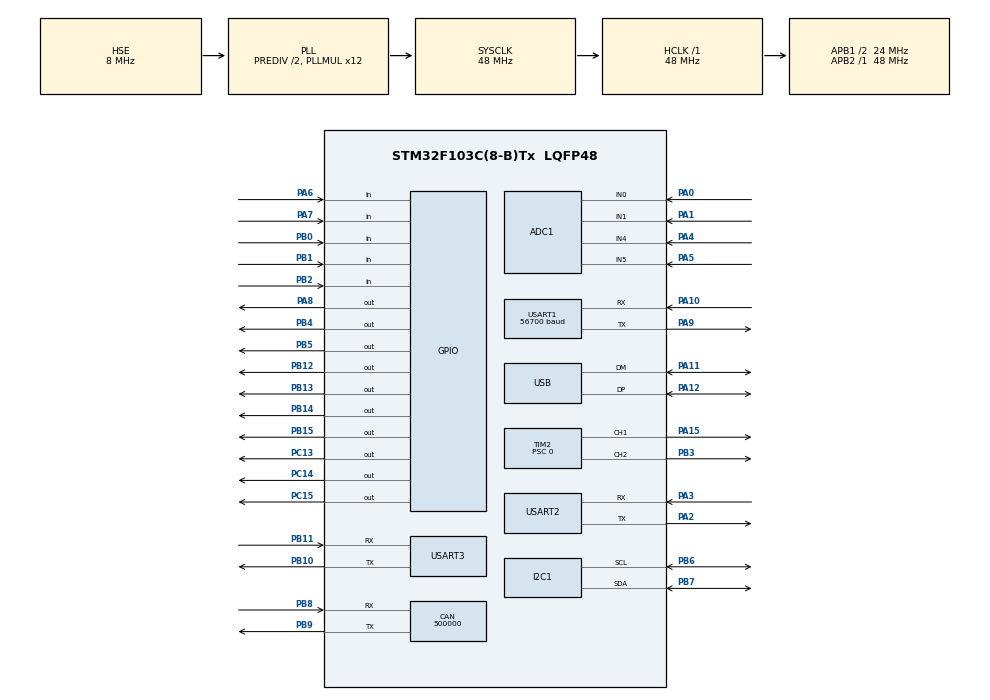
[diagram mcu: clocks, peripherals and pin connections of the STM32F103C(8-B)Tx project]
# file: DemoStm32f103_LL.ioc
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ADC1.Channel-0\#ChannelRegularConversion=ADC_CHANNEL_0
ADC1.NbrOfConversionFlag=1
ADC1.Rank-0\#ChannelRegularConversion=1
ADC1.SamplingTime-0\#ChannelRegularConversion=ADC_SAMPLETIME_1CYCLE_5
ADC1.master=1
CAN.CalculateBaudRate=500000
CAN.CalculateTimeBit=2000
CAN.CalculateTimeQuantum=666.6666666666666
Mcu.Family=STM32F1
Mcu.Name=STM32F103C(8-B)Tx
Mcu.Package=LQFP48
NVIC.I2C1_ER_IRQn=true\:0\:0\:false\:false\:true\:true\:true
NVIC.I2C1_EV_IRQn=true\:0\:0\:false\:false\:true\:true\:true
NVIC.PriorityGroup=NVIC_PRIORITYGROUP_4
NVIC.TIM3_IRQn=true\:0\:0\:false\:false\:true\:true\:true
NVIC.USART1_IRQn=true\:0\:0\:false\:false\:true\:true\:true
NVIC.USART2_IRQn=true\:0\:0\:false\:false\:true\:true\:true
NVIC.USART3_IRQn=true\:0\:0\:false\:false\:true\:true\:true
NVIC.USB_LP_CAN1_RX0_IRQn=true\:0\:0\:false\:false\:true\:true\:true
PA0-WKUP.Signal=ADCx_IN0
PA1.Signal=ADCx_IN1
PA10.Mode=Asynchronous
PA10.Signal=USART1_RX
PA11.Mode=Device
PA11.Signal=USB_DM
PA12.Mode=Device
PA12.Signal=USB_DP
PA13.Mode=Serial_Wire
PA13.Signal=SYS_JTMS-SWDIO
PA14.Mode=Serial_Wire
PA14.Signal=SYS_JTCK-SWCLK
PA15.Signal=S_TIM2_CH1_ETR
PA2.Mode=Asynchronous
PA2.Signal=USART2_TX
PA3.Mode=Asynchronous
PA3.Signal=USART2_RX
PA4.Signal=ADCx_IN4
PA5.Signal=ADCx_IN5
PA6.Signal=GPIO_Input
PA7.Signal=GPIO_Input
PA8.Signal=GPIO_Output
PA9.Mode=Asynchronous
PA9.Signal=USART1_TX
PB0.Signal=GPIO_Input
PB1.Signal=GPIO_Input
PB10.Mode=Asynchronous
PB10.Signal=USART3_TX
PB11.Mode=Asynchronous
PB11.Signal=USART3_RX
PB12.Signal=GPIO_Output
PB13.Signal=GPIO_Output
PB14.Signal=GPIO_Output
PB15.Signal=GPIO_Output
PB2.Signal=GPIO_Input
PB3.Signal=S_TIM2_CH2
PB4.Signal=GPIO_Output
PB5.Signal=GPIO_Output
PB6.GPIO_Pu=GPIO_PULLUP
PB6.Mode=I2C
PB6.Signal=I2C1_SCL
PB7.GPIO_Pu=GPIO_PULLUP
PB7.Mode=I2C
PB7.Signal=I2C1_SDA
PB8.Mode=CAN_Activate
PB8.Signal=CAN_RX
PB9.Mode=CAN_Activate
PB9.Signal=CAN_TX
PC13-TAMPER-RTC.Signal=GPIO_Output
PC14-OSC32_IN.Signal=GPIO_Output
PC15-OSC32_OUT.Signal=GPIO_Output
PD0-OSC_IN.Mode=HSE-External-Oscillator
PD0-OSC_IN.Signal=RCC_OSC_IN
PD1-OSC_OUT.Mode=HSE-External-Oscillator
PD1-OSC_OUT.Signal=RCC_OSC_OUT
ProjectManager.HeapSize=0x200
ProjectManager.StackSize=0x400
ProjectManager.TargetToolchain=STM32CubeIDE
RCC.ADCPresc=RCC_ADCPCLK2_DIV6
RCC.AHBFreq_Value=48000000
RCC.APB1CLKDivider=RCC_HCLK_DIV2
RCC.APB1Freq_Value=24000000
RCC.APB1TimFreq_Value=48000000
RCC.APB2Freq_Value=48000000
RCC.APB2TimFreq_Value=48000000
RCC.HCLKFreq_Value=48000000
RCC.HSEDivPLL=RCC_HSE_PREDIV_DIV2
RCC.PLLMUL=RCC_PLL_MUL12
RCC.PLLSourceVirtual=RCC_PLLSOURCE_HSE
RCC.SYSCLKFreq_VALUE=48000000
RCC.SYSCLKSource=RCC_SYSCLKSOURCE_PLLCLK
RCC.USBFreq_Value=48000000
SH.ADCx_IN0.0=ADC1_IN0,IN0
SH.ADCx_IN1.0=ADC1_IN1,IN1
SH.ADCx_IN4.0=ADC1_IN4,IN4
SH.ADCx_IN5.0=ADC1_IN5,IN5
SH.S_TIM2_CH1_ETR.0=TIM2_CH1,PWM Generation1 CH1
SH.S_TIM2_CH2.0=TIM2_CH2,PWM Generation2 CH2
TIM2.AutoReloadPreload=TIM_AUTORELOAD_PRELOAD_ENABLE
TIM2.Channel-PWM\ Generation1\ CH1=TIM_CHANNEL_1
TIM2.Channel-PWM\ Generation2\ CH2=TIM_CHANNEL_2
TIM2.OCFastMode_PWM-PWM\ Generation1\ CH1=TIM_OCFAST_DISABLE
TIM2.OCFastMode_PWM-PWM\ Generation2\ CH2=TIM_OCFAST_DISABLE
TIM2.Period=287
TIM2.Prescaler=0
TIM2.Pulse-PWM\ Generation1\ CH1=144
TIM2.Pulse-PWM\ Generation2\ CH2=144
TIM3.ClockDivision=TIM_CLOCKDIVISION_DIV4
TIM3.Period=3999
TIM3.Prescaler=47
USART1.BaudRate=56700
USART1.VirtualMode=VM_ASYNC
USART2.VirtualMode=VM_ASYNC
USART3.VirtualMode=VM_ASYNC
VP_TIM2_VS_ClockSourceINT.Mode=Internal
VP_TIM3_VS_ClockSourceINT.Mode=Internal
board=custom

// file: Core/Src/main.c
/* USER CODE BEGIN Header */
/**
  ******************************************************************************
  * @file           : main.c
  * @brief          : Main program body
  ******************************************************************************
  * @attention
  *
  * <h2><center>&copy; Copyright (c) 2019 STMicroelectronics.
  * All rights reserved.</center></h2>
  *
  * This software component is licensed by ST under BSD 3-Clause license,
  * the "License"; You may not use this file except in compliance with the
  * License. You may obtain a copy of the License at:
  *                        opensource.org/licenses/BSD-3-Clause
  *
  ******************************************************************************
  */
/* Version Management */
/**
 //Ver0.1  2022.03.11 Usart2로 전송한 Data를 Usart3으로 수신 완료
 //Ver0.1  2022.03.11 TX & RX모두 인터럽트 처리
*/
/* USER CODE END Header */
#include "main.h"

ADC_HandleTypeDef hadc1;

CAN_HandleTypeDef hcan;

PCD_HandleTypeDef hpcd_USB_FS;

void SystemClock_Config(void);
static void MX_GPIO_Init(void);
static void MX_CAN_Init(void);
static void MX_I2C1_Init(void);
static void MX_TIM3_Init(void);
static void MX_USART1_UART_Init(void);
static void MX_USART2_UART_Init(void);
static void MX_USART3_UART_Init(void);
static void MX_ADC1_Init(void);
static void MX_USB_PCD_Init(void);
static void MX_TIM2_Init(void);
/* USER CODE BEGIN PFP */
//void HAL_TIM_PeriodElapsedCallback(TIM_HandleTypeDef *htim);
//void USART3_RxRcvd_Callback(void);
void USART3_RxRcvd_MoveToBuf(void);

/* USER CODE END PFP */

/* USER CODE BEGIN 0 */
//-----------------------------------------------------------------------------
void TIM3_ISR()
{
  /* Prevent unused argument(s) compilation warning */
  //   LL_GPIO_TogglePin(GPIOC, LL_GPIO_PIN_13);
	  LL_TIM_ClearFlag_UPDATE(TIM3);
	  FlagSys |= 0x01;
	  SystemCnt++;
	//LL_GPIO_TogglePin(GPIOC, LL_GPIO_PIN_13);

  /* NOTE : This function should not be modified, when the callback is needed,
            the HAL_TIM_PeriodElapsedCallback could be implemented in the user file
   */
}

/*
void USART3_RxRcvd_MoveToBuf(void)
{
	StUart3.byRxBuf[StUart3.byRxBufPos]=LL_USART_ReceiveData8(USART3);
	StUart3.byRxBufPos++;
	if (StUart3.byRxBufPos>=RX1BUF_SIZE) StUart3.byRxBufPos=0;
}
*/
/*
void USART3_RxRcvd_Callback(void)
{
	USART3_MoveToBuf_RxRcvd();

	StUart3.byRxBuf[StUart3.byRxBufPos]=LL_USART_ReceiveData8(USART3);
	StUart3.byRxBufPos++;
	if (StUart3.byRxBufPos>=RX1BUF_SIZE) StUart3.byRxBufPos=0;
}
*/

//-----------------------------------------------------------------------------
void MainProcess(void)
{
	switch (PMode) {
		case 0:
			Sensor8452_ReadAcc(&IAccValueX,&IAccValueY,&IAccValueZ);
			PMode++;
			break;
		case 1:
			PMode++;
			break;
		case 2:
			PMode++;
			break;
		case 3:

//			SmartU16MsgToPc(USART3, 0x10,IAccValueX);
//			SmartU16MsgToPc(USART3,0x11,IAccValueY);
//			SmartU16MsgToPc(USART3,0x12,IAccValueZ);

			//HAL_UART_Transmit(&huart3,"TNH_USART3",10,1000);

			PMode=0;
			break;
		default:
			break;
	}
}

/* USER CODE END 0 */

int main(void)
{
  /* USER CODE BEGIN 1 */
  uint8_t by;
  /* USER CODE END 1 */

  /* MCU Configuration--------------------------------------------------------*/

  /* Reset of all peripherals, Initializes the Flash interface and the Systick. */
  HAL_Init();

  /* Configure the system clock */
  SystemClock_Config();

  /* Initialize all configured peripherals */
  MX_GPIO_Init();
  MX_CAN_Init();
  MX_I2C1_Init();
  MX_TIM3_Init();
  MX_USART1_UART_Init();
  MX_USART2_UART_Init();
  MX_USART3_UART_Init();
  MX_ADC1_Init();
  MX_USB_PCD_Init();
  MX_TIM2_Init();
  /* USER CODE BEGIN 2 */
  //lkjc USART1 RxPin Floating으로 인한 입력 무한반복 방지
	LL_GPIO_SetPinMode(GPIOA, LL_GPIO_PIN_10, LL_GPIO_MODE_INPUT);
	LL_GPIO_SetPinPull(GPIOA, LL_GPIO_PIN_10, LL_GPIO_PULL_UP);
	//lkjc USART2 RxPin Floating으로 인한 입력 무한반복 방지
	LL_GPIO_SetPinMode(GPIOA, LL_GPIO_PIN_3, LL_GPIO_MODE_INPUT);
	LL_GPIO_SetPinPull(GPIOA, LL_GPIO_PIN_3, LL_GPIO_PULL_UP);
	//lkjc USART3 RxPin Floating으로 인한 입력 무한반복 방지
	LL_GPIO_SetPinMode(GPIOB, LL_GPIO_PIN_11, LL_GPIO_MODE_INPUT);
	LL_GPIO_SetPinPull(GPIOB, LL_GPIO_PIN_11, LL_GPIO_PULL_UP);

  HAL_Delay(10);
  Mma8452_InitForAccMode(MAX4G_8452);
  //LL_GPIO_SetOutputPin(GPIOC,LL_GPIO_PIN_14);
  //LL_GPIO_ResetOutputPin(GPIOC,LL_GPIO_PIN_14);
  HAL_Delay(10);
  LL_GPIO_SetOutputPin(GPIOC,LL_GPIO_PIN_14);
  LL_USART_EnableIT_RXNE(USART1);
  LL_USART_EnableIT_RXNE(USART2);
  LL_USART_EnableIT_RXNE(USART3);

  //HAL_TIM_Base_Start_IT(&htim3);
  //---Set TIM3 interrupt enable Bit DIER UIE
  LL_TIM_EnableCounter(TIM3);
  LL_TIM_EnableIT_UPDATE(TIM3);
  //---PWR Timer Start
  LL_TIM_EnableCounter(TIM2);
  LL_TIM_CC_EnableChannel(TIM2, LL_TIM_CHANNEL_CH1);
  LL_TIM_CC_EnableChannel(TIM2, LL_TIM_CHANNEL_CH2);

  LL_GPIO_ResetOutputPin(GPIOC,LL_GPIO_PIN_14);
  LL_GPIO_SetOutputPin(GPIOC,LL_GPIO_PIN_14);

  PMode = 0;
  FlagErr = 0;
  FlagSys = 0;
  FlagUsartStat = 0;

  /* USER CODE END 2 */

  /* Infinite loop */
  /* USER CODE BEGIN WHILE */
  while (1)
  {
	//HAL_GPIO_TogglePin(GPIOC, GPIO_PIN_13);
	if ((FlagSys & 0x01) != 0x01) continue;
	LL_GPIO_TogglePin(GPIOC,LL_GPIO_PIN_14);
	SystemCnt++;
	if (SystemCnt>10000) SystemCnt=0;
	/* Calculate RX Data No*/
#if 0
	by = UsartMoveRxData(&StUart3, StUart3.byTxBuf);
	if (by)
		Usart_WriteData(USART3, StUart3.byTxBuf, by) ;
#else
	//
	by = UsartMoveRxData(&StUart2, ByBuf);
	if (by) {
		Usart_WriteDataByTXE(USART3, ByBuf, by) ;
	}
#endif
	MainProcess();
	//---Check Rx OverFlow-----
	if (FlagUsartStat & 0x01) {
		LL_GPIO_ResetOutputPin(GPIOC,LL_GPIO_PIN_13);
	} else {
		LL_GPIO_SetOutputPin(GPIOC,LL_GPIO_PIN_13);
	}

	FlagSys &= 0xFE;

    /* USER CODE END WHILE */

    }
}

void SystemClock_Config(void)
{
  RCC_OscInitTypeDef RCC_OscInitStruct = {0};
  RCC_ClkInitTypeDef RCC_ClkInitStruct = {0};
  RCC_PeriphCLKInitTypeDef PeriphClkInit = {0};

  /** Initializes the RCC Oscillators according to the specified parameters
  * in the RCC_OscInitTypeDef structure.
  */
  RCC_OscInitStruct.OscillatorType = RCC_OSCILLATORTYPE_HSE;
  RCC_OscInitStruct.HSEState = RCC_HSE_ON;
  RCC_OscInitStruct.HSEPredivValue = RCC_HSE_PREDIV_DIV2;
  RCC_OscInitStruct.HSIState = RCC_HSI_ON;
  RCC_OscInitStruct.PLL.PLLState = RCC_PLL_ON;
  RCC_OscInitStruct.PLL.PLLSource = RCC_PLLSOURCE_HSE;
  RCC_OscInitStruct.PLL.PLLMUL = RCC_PLL_MUL12;
  if (HAL_RCC_OscConfig(&RCC_OscInitStruct) != HAL_OK)
  {
    Error_Handler();
  }
  /** Initializes the CPU, AHB and APB buses clocks
  */
  RCC_ClkInitStruct.ClockType = RCC_CLOCKTYPE_HCLK|RCC_CLOCKTYPE_SYSCLK
                              |RCC_CLOCKTYPE_PCLK1|RCC_CLOCKTYPE_PCLK2;
  RCC_ClkInitStruct.SYSCLKSource = RCC_SYSCLKSOURCE_PLLCLK;
  RCC_ClkInitStruct.AHBCLKDivider = RCC_SYSCLK_DIV1;
  RCC_ClkInitStruct.APB1CLKDivider = RCC_HCLK_DIV2;
  RCC_ClkInitStruct.APB2CLKDivider = RCC_HCLK_DIV1;

  if (HAL_RCC_ClockConfig(&RCC_ClkInitStruct, FLASH_LATENCY_1) != HAL_OK)
  {
    Error_Handler();
  }
  PeriphClkInit.PeriphClockSelection = RCC_PERIPHCLK_ADC|RCC_PERIPHCLK_USB;
  PeriphClkInit.AdcClockSelection = RCC_ADCPCLK2_DIV6;
  PeriphClkInit.UsbClockSelection = RCC_USBCLKSOURCE_PLL;
  if (HAL_RCCEx_PeriphCLKConfig(&PeriphClkInit) != HAL_OK)
  {
    Error_Handler();
  }
}

static void MX_ADC1_Init(void)
{

  ADC_ChannelConfTypeDef sConfig = {0};

  /** Common config
  */
  hadc1.Instance = ADC1;
  hadc1.Init.ScanConvMode = ADC_SCAN_DISABLE;
  hadc1.Init.ContinuousConvMode = DISABLE;
  hadc1.Init.DiscontinuousConvMode = DISABLE;
  hadc1.Init.ExternalTrigConv = ADC_SOFTWARE_START;
  hadc1.Init.DataAlign = ADC_DATAALIGN_RIGHT;
  hadc1.Init.NbrOfConversion = 1;
  if (HAL_ADC_Init(&hadc1) != HAL_OK)
  {
    Error_Handler();
  }
  /** Configure Regular Channel
  */
  sConfig.Channel = ADC_CHANNEL_0;
  sConfig.Rank = ADC_REGULAR_RANK_1;
  sConfig.SamplingTime = ADC_SAMPLETIME_1CYCLE_5;
  if (HAL_ADC_ConfigChannel(&hadc1, &sConfig) != HAL_OK)
  {
    Error_Handler();
  }

}

static void MX_CAN_Init(void)
{

  hcan.Instance = CAN1;
  hcan.Init.Prescaler = 16;
  hcan.Init.Mode = CAN_MODE_NORMAL;
  hcan.Init.SyncJumpWidth = CAN_SJW_1TQ;
  hcan.Init.TimeSeg1 = CAN_BS1_1TQ;
  hcan.Init.TimeSeg2 = CAN_BS2_1TQ;
  hcan.Init.TimeTriggeredMode = DISABLE;
  hcan.Init.AutoBusOff = DISABLE;
  hcan.Init.AutoWakeUp = DISABLE;
  hcan.Init.AutoRetransmission = DISABLE;
  hcan.Init.ReceiveFifoLocked = DISABLE;
  hcan.Init.TransmitFifoPriority = DISABLE;
  if (HAL_CAN_Init(&hcan) != HAL_OK)
  {
    Error_Handler();
  }

}

static void MX_I2C1_Init(void)
{

  LL_I2C_InitTypeDef I2C_InitStruct = {0};

  LL_GPIO_InitTypeDef GPIO_InitStruct = {0};

  LL_APB2_GRP1_EnableClock(LL_APB2_GRP1_PERIPH_GPIOB);
  /**I2C1 GPIO Configuration
  PB6   ------> I2C1_SCL
  PB7   ------> I2C1_SDA
  */
  GPIO_InitStruct.Pin = LL_GPIO_PIN_6|LL_GPIO_PIN_7;
  GPIO_InitStruct.Mode = LL_GPIO_MODE_ALTERNATE;
  GPIO_InitStruct.Speed = LL_GPIO_SPEED_FREQ_HIGH;
  GPIO_InitStruct.OutputType = LL_GPIO_OUTPUT_OPENDRAIN;
  LL_GPIO_Init(GPIOB, &GPIO_InitStruct);

  /* Peripheral clock enable */
  LL_APB1_GRP1_EnableClock(LL_APB1_GRP1_PERIPH_I2C1);

  /* I2C1 interrupt Init */
  NVIC_SetPriority(I2C1_EV_IRQn, NVIC_EncodePriority(NVIC_GetPriorityGrouping(),0, 0));
  NVIC_EnableIRQ(I2C1_EV_IRQn);
  NVIC_SetPriority(I2C1_ER_IRQn, NVIC_EncodePriority(NVIC_GetPriorityGrouping(),0, 0));
  NVIC_EnableIRQ(I2C1_ER_IRQn);

  /** I2C Initialization
  */
  LL_I2C_DisableOwnAddress2(I2C1);
  LL_I2C_DisableGeneralCall(I2C1);
  LL_I2C_EnableClockStretching(I2C1);
  I2C_InitStruct.PeripheralMode = LL_I2C_MODE_I2C;
  I2C_InitStruct.ClockSpeed = 100000;
  I2C_InitStruct.DutyCycle = LL_I2C_DUTYCYCLE_2;
  I2C_InitStruct.OwnAddress1 = 0;
  I2C_InitStruct.TypeAcknowledge = LL_I2C_ACK;
  I2C_InitStruct.OwnAddrSize = LL_I2C_OWNADDRESS1_7BIT;
  LL_I2C_Init(I2C1, &I2C_InitStruct);
  LL_I2C_SetOwnAddress2(I2C1, 0);

}

static void MX_TIM2_Init(void)
{

  LL_TIM_InitTypeDef TIM_InitStruct = {0};
  LL_TIM_OC_InitTypeDef TIM_OC_InitStruct = {0};

  LL_GPIO_InitTypeDef GPIO_InitStruct = {0};

  /* Peripheral clock enable */
  LL_APB1_GRP1_EnableClock(LL_APB1_GRP1_PERIPH_TIM2);

  TIM_InitStruct.Prescaler = 0;
  TIM_InitStruct.CounterMode = LL_TIM_COUNTERMODE_UP;
  TIM_InitStruct.Autoreload = 287;
  TIM_InitStruct.ClockDivision = LL_TIM_CLOCKDIVISION_DIV1;
  LL_TIM_Init(TIM2, &TIM_InitStruct);
  LL_TIM_EnableARRPreload(TIM2);
  LL_TIM_SetClockSource(TIM2, LL_TIM_CLOCKSOURCE_INTERNAL);
  LL_TIM_OC_EnablePreload(TIM2, LL_TIM_CHANNEL_CH1);
  TIM_OC_InitStruct.OCMode = LL_TIM_OCMODE_PWM1;
  TIM_OC_InitStruct.OCState = LL_TIM_OCSTATE_DISABLE;
  TIM_OC_InitStruct.OCNState = LL_TIM_OCSTATE_DISABLE;
  TIM_OC_InitStruct.CompareValue = 144;
  TIM_OC_InitStruct.OCPolarity = LL_TIM_OCPOLARITY_HIGH;
  LL_TIM_OC_Init(TIM2, LL_TIM_CHANNEL_CH1, &TIM_OC_InitStruct);
  LL_TIM_OC_DisableFast(TIM2, LL_TIM_CHANNEL_CH1);
  LL_TIM_OC_EnablePreload(TIM2, LL_TIM_CHANNEL_CH2);
  LL_TIM_OC_Init(TIM2, LL_TIM_CHANNEL_CH2, &TIM_OC_InitStruct);
  LL_TIM_OC_DisableFast(TIM2, LL_TIM_CHANNEL_CH2);
  LL_TIM_SetTriggerOutput(TIM2, LL_TIM_TRGO_RESET);
  LL_TIM_DisableMasterSlaveMode(TIM2);
  LL_APB2_GRP1_EnableClock(LL_APB2_GRP1_PERIPH_GPIOA);
  LL_APB2_GRP1_EnableClock(LL_APB2_GRP1_PERIPH_GPIOB);
  /**TIM2 GPIO Configuration
  PA15   ------> TIM2_CH1
  PB3   ------> TIM2_CH2
  */
  GPIO_InitStruct.Pin = LL_GPIO_PIN_15;
  GPIO_InitStruct.Mode = LL_GPIO_MODE_ALTERNATE;
  GPIO_InitStruct.Speed = LL_GPIO_SPEED_FREQ_LOW;
  GPIO_InitStruct.OutputType = LL_GPIO_OUTPUT_PUSHPULL;
  LL_GPIO_Init(GPIOA, &GPIO_InitStruct);

  GPIO_InitStruct.Pin = LL_GPIO_PIN_3;
  GPIO_InitStruct.Mode = LL_GPIO_MODE_ALTERNATE;
  GPIO_InitStruct.Speed = LL_GPIO_SPEED_FREQ_LOW;
  GPIO_InitStruct.OutputType = LL_GPIO_OUTPUT_PUSHPULL;
  LL_GPIO_Init(GPIOB, &GPIO_InitStruct);

  LL_GPIO_AF_RemapPartial1_TIM2();

}

static void MX_TIM3_Init(void)
{

  LL_TIM_InitTypeDef TIM_InitStruct = {0};

  /* Peripheral clock enable */
  LL_APB1_GRP1_EnableClock(LL_APB1_GRP1_PERIPH_TIM3);

  /* TIM3 interrupt Init */
  NVIC_SetPriority(TIM3_IRQn, NVIC_EncodePriority(NVIC_GetPriorityGrouping(),0, 0));
  NVIC_EnableIRQ(TIM3_IRQn);

  TIM_InitStruct.Prescaler = 47;
  TIM_InitStruct.CounterMode = LL_TIM_COUNTERMODE_UP;
  TIM_InitStruct.Autoreload = 3999;
  TIM_InitStruct.ClockDivision = LL_TIM_CLOCKDIVISION_DIV4;
  LL_TIM_Init(TIM3, &TIM_InitStruct);
  LL_TIM_DisableARRPreload(TIM3);
  LL_TIM_SetClockSource(TIM3, LL_TIM_CLOCKSOURCE_INTERNAL);
  LL_TIM_SetTriggerOutput(TIM3, LL_TIM_TRGO_RESET);
  LL_TIM_DisableMasterSlaveMode(TIM3);

}

static void MX_USART1_UART_Init(void)
{

  LL_USART_InitTypeDef USART_InitStruct = {0};

  LL_GPIO_InitTypeDef GPIO_InitStruct = {0};

  /* Peripheral clock enable */
  LL_APB2_GRP1_EnableClock(LL_APB2_GRP1_PERIPH_USART1);

  LL_APB2_GRP1_EnableClock(LL_APB2_GRP1_PERIPH_GPIOA);
  /**USART1 GPIO Configuration
  PA9   ------> USART1_TX
  PA10   ------> USART1_RX
  */
  GPIO_InitStruct.Pin = LL_GPIO_PIN_9;
  GPIO_InitStruct.Mode = LL_GPIO_MODE_ALTERNATE;
  GPIO_InitStruct.Speed = LL_GPIO_SPEED_FREQ_HIGH;
  GPIO_InitStruct.OutputType = LL_GPIO_OUTPUT_PUSHPULL;
  LL_GPIO_Init(GPIOA, &GPIO_InitStruct);

  GPIO_InitStruct.Pin = LL_GPIO_PIN_10;
  GPIO_InitStruct.Mode = LL_GPIO_MODE_FLOATING;
  LL_GPIO_Init(GPIOA, &GPIO_InitStruct);

  /* USART1 interrupt Init */
  NVIC_SetPriority(USART1_IRQn, NVIC_EncodePriority(NVIC_GetPriorityGrouping(),0, 0));
  NVIC_EnableIRQ(USART1_IRQn);

  USART_InitStruct.BaudRate = 56700;
  USART_InitStruct.DataWidth = LL_USART_DATAWIDTH_8B;
  USART_InitStruct.StopBits = LL_USART_STOPBITS_1;
  USART_InitStruct.Parity = LL_USART_PARITY_NONE;
  USART_InitStruct.TransferDirection = LL_USART_DIRECTION_TX_RX;
  USART_InitStruct.HardwareFlowControl = LL_USART_HWCONTROL_NONE;
  USART_InitStruct.OverSampling = LL_USART_OVERSAMPLING_16;
  LL_USART_Init(USART1, &USART_InitStruct);
  LL_USART_ConfigAsyncMode(USART1);
  LL_USART_Enable(USART1);

}

static void MX_USART2_UART_Init(void)
{

  LL_USART_InitTypeDef USART_InitStruct = {0};

  LL_GPIO_InitTypeDef GPIO_InitStruct = {0};

  /* Peripheral clock enable */
  LL_APB1_GRP1_EnableClock(LL_APB1_GRP1_PERIPH_USART2);

  LL_APB2_GRP1_EnableClock(LL_APB2_GRP1_PERIPH_GPIOA);
  /**USART2 GPIO Configuration
  PA2   ------> USART2_TX
  PA3   ------> USART2_RX
  */
  GPIO_InitStruct.Pin = LL_GPIO_PIN_2;
  GPIO_InitStruct.Mode = LL_GPIO_MODE_ALTERNATE;
  GPIO_InitStruct.Speed = LL_GPIO_SPEED_FREQ_HIGH;
  GPIO_InitStruct.OutputType = LL_GPIO_OUTPUT_PUSHPULL;
  LL_GPIO_Init(GPIOA, &GPIO_InitStruct);

  GPIO_InitStruct.Pin = LL_GPIO_PIN_3;
  GPIO_InitStruct.Mode = LL_GPIO_MODE_FLOATING;
  LL_GPIO_Init(GPIOA, &GPIO_InitStruct);

  /* USART2 interrupt Init */
  NVIC_SetPriority(USART2_IRQn, NVIC_EncodePriority(NVIC_GetPriorityGrouping(),0, 0));
  NVIC_EnableIRQ(USART2_IRQn);

  USART_InitStruct.BaudRate = 115200;
  USART_InitStruct.DataWidth = LL_USART_DATAWIDTH_8B;
  USART_InitStruct.StopBits = LL_USART_STOPBITS_1;
  USART_InitStruct.Parity = LL_USART_PARITY_NONE;
  USART_InitStruct.TransferDirection = LL_USART_DIRECTION_TX_RX;
  USART_InitStruct.HardwareFlowControl = LL_USART_HWCONTROL_NONE;
  USART_InitStruct.OverSampling = LL_USART_OVERSAMPLING_16;
  LL_USART_Init(USART2, &USART_InitStruct);
  LL_USART_ConfigAsyncMode(USART2);
  LL_USART_Enable(USART2);

}

static void MX_USART3_UART_Init(void)
{

  LL_USART_InitTypeDef USART_InitStruct = {0};

  LL_GPIO_InitTypeDef GPIO_InitStruct = {0};

  /* Peripheral clock enable */
  LL_APB1_GRP1_EnableClock(LL_APB1_GRP1_PERIPH_USART3);

  LL_APB2_GRP1_EnableClock(LL_APB2_GRP1_PERIPH_GPIOB);
  /**USART3 GPIO Configuration
  PB10   ------> USART3_TX
  PB11   ------> USART3_RX
  */
  GPIO_InitStruct.Pin = LL_GPIO_PIN_10;
  GPIO_InitStruct.Mode = LL_GPIO_MODE_ALTERNATE;
  GPIO_InitStruct.Speed = LL_GPIO_SPEED_FREQ_HIGH;
  GPIO_InitStruct.OutputType = LL_GPIO_OUTPUT_PUSHPULL;
  LL_GPIO_Init(GPIOB, &GPIO_InitStruct);

  GPIO_InitStruct.Pin = LL_GPIO_PIN_11;
  GPIO_InitStruct.Mode = LL_GPIO_MODE_FLOATING;
  LL_GPIO_Init(GPIOB, &GPIO_InitStruct);

  /* USART3 interrupt Init */
  NVIC_SetPriority(USART3_IRQn, NVIC_EncodePriority(NVIC_GetPriorityGrouping(),0, 0));
  NVIC_EnableIRQ(USART3_IRQn);

  USART_InitStruct.BaudRate = 115200;
  USART_InitStruct.DataWidth = LL_USART_DATAWIDTH_8B;
  USART_InitStruct.StopBits = LL_USART_STOPBITS_1;
  USART_InitStruct.Parity = LL_USART_PARITY_NONE;
  USART_InitStruct.TransferDirection = LL_USART_DIRECTION_TX_RX;
  USART_InitStruct.HardwareFlowControl = LL_USART_HWCONTROL_NONE;
  USART_InitStruct.OverSampling = LL_USART_OVERSAMPLING_16;
  LL_USART_Init(USART3, &USART_InitStruct);
  LL_USART_ConfigAsyncMode(USART3);
  LL_USART_Enable(USART3);

}

static void MX_USB_PCD_Init(void)
{

  hpcd_USB_FS.Instance = USB;
  hpcd_USB_FS.Init.dev_endpoints = 8;
  hpcd_USB_FS.Init.speed = PCD_SPEED_FULL;
  hpcd_USB_FS.Init.low_power_enable = DISABLE;
  hpcd_USB_FS.Init.lpm_enable = DISABLE;
  hpcd_USB_FS.Init.battery_charging_enable = DISABLE;
  if (HAL_PCD_Init(&hpcd_USB_FS) != HAL_OK)
  {
    Error_Handler();
  }

}

static void MX_GPIO_Init(void)
{
  LL_GPIO_InitTypeDef GPIO_InitStruct = {0};

  /* GPIO Ports Clock Enable */
  LL_APB2_GRP1_EnableClock(LL_APB2_GRP1_PERIPH_GPIOC);
  LL_APB2_GRP1_EnableClock(LL_APB2_GRP1_PERIPH_GPIOD);
  LL_APB2_GRP1_EnableClock(LL_APB2_GRP1_PERIPH_GPIOA);
  LL_APB2_GRP1_EnableClock(LL_APB2_GRP1_PERIPH_GPIOB);

  /**/
  LL_GPIO_ResetOutputPin(GPIOC, LL_GPIO_PIN_13|LL_GPIO_PIN_14|LL_GPIO_PIN_15);

  /**/
  LL_GPIO_ResetOutputPin(GPIOB, LL_GPIO_PIN_12|LL_GPIO_PIN_13|LL_GPIO_PIN_14|LL_GPIO_PIN_15
                          |LL_GPIO_PIN_4|LL_GPIO_PIN_5);

  /**/
  LL_GPIO_ResetOutputPin(GPIOA, LL_GPIO_PIN_8);

  /**/
  GPIO_InitStruct.Pin = LL_GPIO_PIN_13|LL_GPIO_PIN_14|LL_GPIO_PIN_15;
  GPIO_InitStruct.Mode = LL_GPIO_MODE_OUTPUT;
  GPIO_InitStruct.Speed = LL_GPIO_SPEED_FREQ_LOW;
  GPIO_InitStruct.OutputType = LL_GPIO_OUTPUT_PUSHPULL;
  LL_GPIO_Init(GPIOC, &GPIO_InitStruct);

  /**/
  GPIO_InitStruct.Pin = LL_GPIO_PIN_6|LL_GPIO_PIN_7;
  GPIO_InitStruct.Mode = LL_GPIO_MODE_FLOATING;
  LL_GPIO_Init(GPIOA, &GPIO_InitStruct);

  /**/
  GPIO_InitStruct.Pin = LL_GPIO_PIN_0|LL_GPIO_PIN_1|LL_GPIO_PIN_2;
  GPIO_InitStruct.Mode = LL_GPIO_MODE_FLOATING;
  LL_GPIO_Init(GPIOB, &GPIO_InitStruct);

  /**/
  GPIO_InitStruct.Pin = LL_GPIO_PIN_12|LL_GPIO_PIN_13|LL_GPIO_PIN_14|LL_GPIO_PIN_15
                          |LL_GPIO_PIN_4|LL_GPIO_PIN_5;
  GPIO_InitStruct.Mode = LL_GPIO_MODE_OUTPUT;
  GPIO_InitStruct.Speed = LL_GPIO_SPEED_FREQ_LOW;
  GPIO_InitStruct.OutputType = LL_GPIO_OUTPUT_PUSHPULL;
  LL_GPIO_Init(GPIOB, &GPIO_InitStruct);

  /**/
  GPIO_InitStruct.Pin = LL_GPIO_PIN_8;
  GPIO_InitStruct.Mode = LL_GPIO_MODE_OUTPUT;
  GPIO_InitStruct.Speed = LL_GPIO_SPEED_FREQ_LOW;
  GPIO_InitStruct.OutputType = LL_GPIO_OUTPUT_PUSHPULL;
  LL_GPIO_Init(GPIOA, &GPIO_InitStruct);

}

void Error_Handler(void)
{
}
